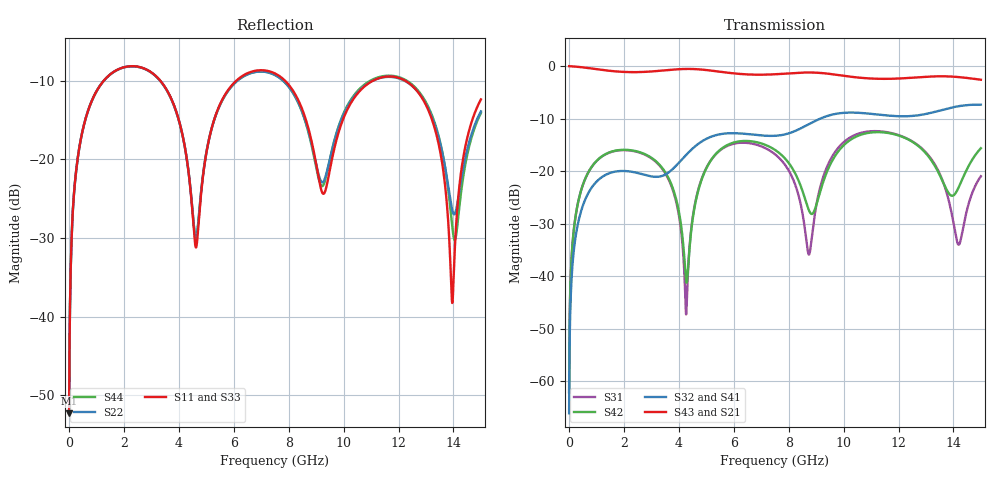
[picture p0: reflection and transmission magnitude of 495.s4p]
! Created with skrf 1.8.0 (http://scikit-rf.org).
# GHz S RI R 50.0
!freq ReS11 ImS11 ReS12 ImS12 ReS13 ImS13
! ReS14 ImS14
! ReS21 ImS21 ReS22 ImS22 ReS23 ImS23
! ReS24 ImS24
! ReS31 ImS31 ReS32 ImS32 ReS33 ImS33
! ReS34 ImS34
! ReS41 ImS41 ReS42 ImS42 ReS43 ImS43
! ReS44 ImS44
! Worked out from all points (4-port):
!   2499 points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, 5 MHz to 15 GHz, reference 50 ohm
!   strongest paths, dB at 5 MHz, 3.476 GHz, 7.19 GHz, 11.1 GHz, 15 GHz:
!     S43: 0.0, -0.8, -1.6, -2.4, -2.6
!     S21: 0.0, -0.8, -1.6, -2.4, -2.6
!     S32: -66.1, -20.7, -13.3, -9.1, -7.3
!     S41: -66.1, -20.8, -13.4, -9.2, -7.3
!     S42: -62.1, -20.0, -15.1, -12.6, -15.6
!     S31: -62.1, -20.2, -15.7, -12.4, -20.9
!   lowest |S11| = -52.3 dB at 5 MHz (marker M1), VSWR 1.00, Z = 50.2 + j0.147 ohm
!   |S11| at or under -10 dB: 3.33 GHz to 6.087 GHz (2.758 GHz wide, 58.6 % of centre); 7.872 GHz to 11.06 GHz (3.19 GHz wide, 33.7 % of centre); 12.25 GHz to end of sweep (the widest 3 of 4)
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0.005  0.00194 0.00147  0.998 -0.00377  9.87e-05 0.000782  -9.58e-05 -0.000489
       0.998 -0.00377  0.00194 0.00147  -9.58e-05 -0.000489  9.88e-05 0.000782
       9.87e-05 0.000782  -9.58e-05 -0.000489  0.00194 0.00147  0.998 -0.00377
       -9.58e-05 -0.000489  9.88e-05 0.000782  0.998 -0.00377  0.00194 0.00147
1.419341  0.2943 0.1658  0.4948 -0.7581  0.1374 0.0563  -0.0943 0.00293
          0.4948 -0.7581  0.2934 0.1665  -0.0945 0.00317  0.1393 0.0534
          0.1374 0.0563  -0.0945 0.00317  0.2942 0.1659  0.4949 -0.7581
          -0.0943 0.00293  0.1393 0.0534  0.4949 -0.7581  0.2935 0.1664
4.264277  0.0497 -0.0958  -0.8879 -0.3065  -0.00424 -0.000931  -0.0437 0.1359
          -0.8879 -0.3065  0.0533 -0.0937  -0.0408 0.1368  -0.00846 -0.00346
          -0.00424 -0.000931  -0.0408 0.1368  0.0504 -0.0956  -0.8878 -0.3066
          -0.0437 0.1359  -0.00846 -0.00346  -0.8878 -0.3066  0.0527 -0.094
5.446019  0.1466 0.155  -0.7772 0.4274  0.1174 0.0992  0.1373 0.1752
          -0.7772 0.4274  0.1467 0.1525  0.1412 0.1729  0.1225 0.0948
          0.1174 0.0992  0.1412 0.1729  0.1459 0.1542  -0.7773 0.4273
          0.1373 0.1752  0.1225 0.0948  -0.7773 0.4273  0.147 0.1528
9.322634  0.0619 0.0076  0.8464 0.1037  0.0204 0.0963  0.0352 -0.3278
          0.8464 0.1037  0.074 0.017  0.0218 -0.3288  -0.00223 0.0884
          0.0204 0.0963  0.0218 -0.3288  0.0645 0.00843  0.8464 0.1034
          0.0352 -0.3278  -0.00223 0.0884  0.8464 0.1034  0.0705 0.0197
13.96207  0.0121 0.00196  -0.7689 -0.1971  -0.00238 -0.0365  -0.1025 0.3905
          -0.7689 -0.1971  0.0457 -0.0119  -0.0735 0.3978  0.0437 -0.0387
          -0.00238 -0.0365  -0.0735 0.3978  0.028 0.00508  -0.7687 -0.1986
          -0.1025 0.3905  0.0437 -0.0387  -0.7687 -0.1986  0.0321 -0.0181
15  0.1425 0.1942  -0.6598 0.3377  0.0869 -0.022  0.1974 0.3816
    -0.6598 0.3377  0.1399 0.146  0.2252 0.3661  0.1506 -0.0688
    0.0869 -0.022  0.2252 0.3661  0.1534 0.1845  -0.6614 0.3366
    0.1974 0.3816  0.1506 -0.0688  -0.6614 0.3366  0.1281 0.1497
